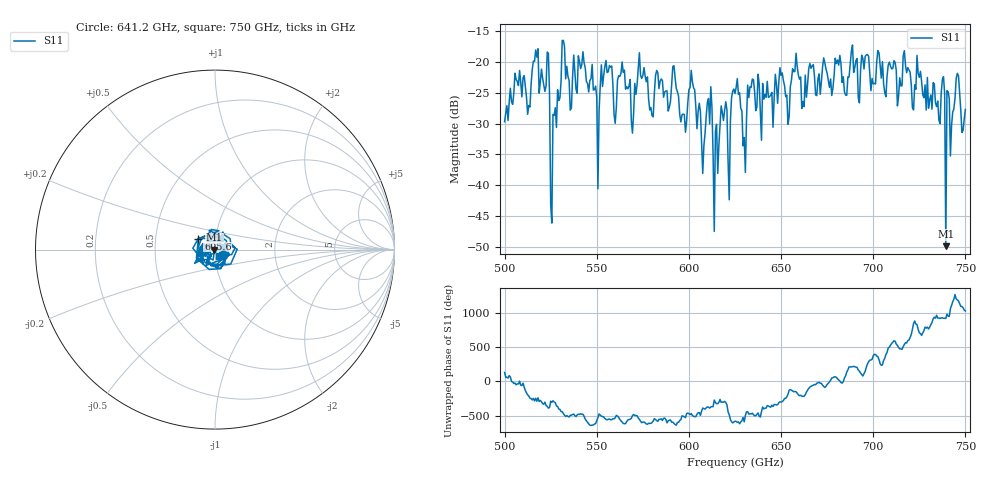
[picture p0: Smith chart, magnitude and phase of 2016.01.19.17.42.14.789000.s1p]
!Created with skrf (http://scikit-rf.org).
# GHz S RI R 50.0
!freq ReS11 ImS11
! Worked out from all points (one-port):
!   401 points, 500 GHz to 750 GHz, reference 50 ohm
!   lowest |S11| = -49.9 dB at 739.4 GHz (marker M1), VSWR 1.01, Z = 49.7 - j0.0884 ohm
!   |S11| at or under -10 dB: start of sweep to end of sweep
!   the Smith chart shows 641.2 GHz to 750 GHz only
!   S11 on the Smith chart (normalised r, x): 641.2 GHz: 1.10, -0.06; 695.6 GHz: 0.82, +0.10; 750 GHz: 1.05, -0.07
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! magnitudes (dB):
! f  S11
! 500 GHz  -29.7
! 506.9 GHz  -23.1
! 513.1 GHz  -27.1
! 516.9 GHz  -18.0
! 523.1 GHz  -18.4
! 526.2 GHz  -28.5
! 531.2 GHz  -16.5
! 550 GHz  -25.7
! 553.8 GHz  -22.2
! 562.5 GHz  -22.3
! 570 GHz  -28.3
! 573.8 GHz  -22.1
! 593.8 GHz  -24.8
! 601.9 GHz  -23.2
! 608.1 GHz  -33.5
! 611.2 GHz  -30.0
! 614.4 GHz  -31.2
! 625 GHz  -25.1
! 630 GHz  -32.2
! 633.1 GHz  -24.0
! 641.2 GHz  -25.2
! 656.2 GHz  -21.1
! 687.5 GHz  -20.4
! 695.6 GHz  -19.1
! 718.8 GHz  -20.9
! 739.4 GHz  -49.9
! 745.6 GHz  -21.8
! 750 GHz  -27.7
